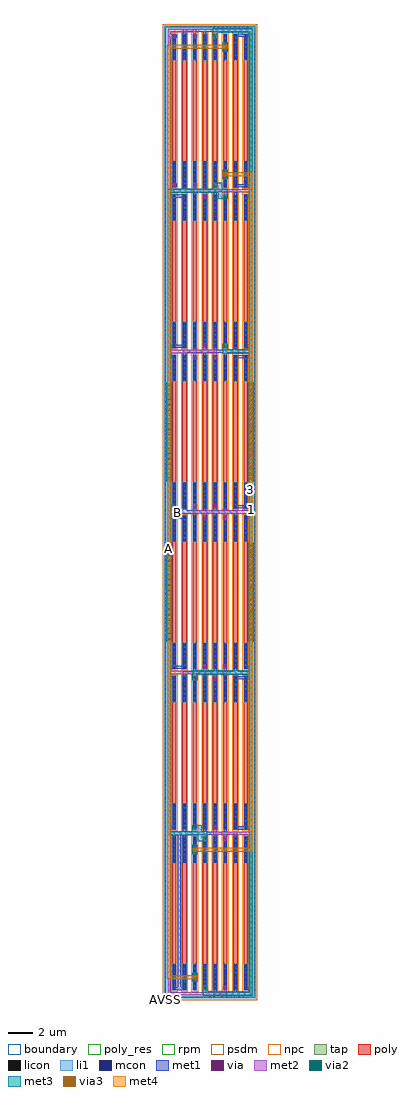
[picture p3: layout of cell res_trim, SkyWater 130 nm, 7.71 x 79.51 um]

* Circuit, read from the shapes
.subckt res_trim 1 2 3 A AVSS B
XR1 B B AVSS sky130_fd_pr__res_high_po w=0.35 l=8.28 m=8
XR2 2 2 AVSS sky130_fd_pr__res_high_po w=0.35 l=8.28
XR3 3 B AVSS sky130_fd_pr__res_high_po w=0.35 l=8.28 m=16
XR4 1 A AVSS sky130_fd_pr__res_high_po w=0.35 l=8.28 m=2
XR5 1 2 AVSS sky130_fd_pr__res_high_po w=0.35 l=8.28 m=4
XR6 2 3 AVSS sky130_fd_pr__res_high_po w=0.35 l=8.28 m=8
XR7 3 3 AVSS sky130_fd_pr__res_high_po w=0.35 l=8.28 m=9
.ends

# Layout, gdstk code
import gdstk
lib = gdstk.Library(unit=1e-6, precision=1e-09)
def R(c, l, rs):  # rectangles x0, y0, x1, y1
    for r in rs: c.add(gdstk.rectangle(r[:2], r[2:], *l))
def A(c, l, x, y, w, h, nx, ny, dx, dy):  # array of equal rectangles
    R(c, l, [(x+i*dx, y+j*dy, x+i*dx+w, y+j*dy+h) for i in range(nx) for j in range(ny)])
tap = (65, 44)
poly_res = (66, 13)
poly = (66, 20)
licon = (66, 44)
li1 = (67, 20)
mcon = (67, 44)
met1 = (68, 20)
via = (68, 44)
met2 = (69, 20)
via2 = (69, 44)
met3 = (70, 20)
via3 = (70, 44)
met4 = (71, 20)
rpm = (86, 20)
psdm = (94, 20)
npc = (95, 20)
boundary = (235, 4)

sky130_fd_pr__res_high_p = lib.new_cell('sky130_fd_pr__res_high_po_0p35_FKQ3F2')
R(sky130_fd_pr__res_high_p, tap, [(-3.73,-39.63,3.73,-39.46), (-3.73,-39.46,-3.56,39.46), (3.56,-39.46,3.73,39.46), (-3.73,39.46,3.73,39.63)])
A(sky130_fd_pr__res_high_p, poly_res, -3.08, -36.9, 0.35, 8.4, 8, 6, 0.83, 13.08)
A(sky130_fd_pr__res_high_p, poly, -3.08, -38.98, 0.35, 12.56, 8, 6, 0.83, 13.08)
A(sky130_fd_pr__res_high_p, licon, -3.145, -39.63, 0.17, 0.17, 19, 2, 0.34, 79.09)
A(sky130_fd_pr__res_high_p, licon, -3.73, -39.015, 0.17, 0.17, 1, 230, 0, 0.34)
A(sky130_fd_pr__res_high_p, licon, 3.56, -39.015, 0.17, 0.17, 1, 230, 0, 0.34)
A(sky130_fd_pr__res_high_p, licon, -3, -38.9, 0.19, 2, 8, 2, 0.83, 10.4)
A(sky130_fd_pr__res_high_p, licon, -3, -25.82, 0.19, 2, 8, 2, 0.83, 10.4)
A(sky130_fd_pr__res_high_p, licon, -3, -12.74, 0.19, 2, 8, 2, 0.83, 10.4)
A(sky130_fd_pr__res_high_p, licon, -3, 0.34, 0.19, 2, 8, 2, 0.83, 10.4)
A(sky130_fd_pr__res_high_p, licon, -3, 13.42, 0.19, 2, 8, 2, 0.83, 10.4)
A(sky130_fd_pr__res_high_p, licon, -3, 26.5, 0.19, 2, 8, 2, 0.83, 10.4)
A(sky130_fd_pr__res_high_p, li1, -3.08, -38.98, 0.35, 2.16, 8, 2, 0.83, 10.4)
A(sky130_fd_pr__res_high_p, li1, -3.08, -25.9, 0.35, 2.16, 8, 2, 0.83, 10.4)
A(sky130_fd_pr__res_high_p, li1, -3.08, -12.82, 0.35, 2.16, 8, 2, 0.83, 10.4)
A(sky130_fd_pr__res_high_p, li1, -3.08, 0.26, 0.35, 2.16, 8, 2, 0.83, 10.4)
A(sky130_fd_pr__res_high_p, li1, -3.08, 13.34, 0.35, 2.16, 8, 2, 0.83, 10.4)
A(sky130_fd_pr__res_high_p, li1, -3.08, 26.42, 0.35, 2.16, 8, 2, 0.83, 10.4)
R(sky130_fd_pr__res_high_p, li1, [(-3.73,-39.63,3.73,-39.46), (-3.73,-39.46,-3.56,39.46), (3.56,-39.46,3.73,39.46), (-3.73,39.46,3.73,39.63)])
A(sky130_fd_pr__res_high_p, mcon, -2.99, -38.885, 0.17, 0.17, 8, 6, 0.83, 0.36)
A(sky130_fd_pr__res_high_p, mcon, -2.99, -28.49, 0.17, 0.17, 8, 6, 0.83, 0.36)
A(sky130_fd_pr__res_high_p, mcon, -2.99, -25.805, 0.17, 0.17, 8, 6, 0.83, 0.36)
A(sky130_fd_pr__res_high_p, mcon, -2.99, -15.41, 0.17, 0.17, 8, 6, 0.83, 0.36)
A(sky130_fd_pr__res_high_p, mcon, -2.99, -12.725, 0.17, 0.17, 8, 6, 0.83, 0.36)
A(sky130_fd_pr__res_high_p, mcon, -2.99, -2.33, 0.17, 0.17, 8, 6, 0.83, 0.36)
A(sky130_fd_pr__res_high_p, mcon, -2.99, 0.355, 0.17, 0.17, 8, 6, 0.83, 0.36)
A(sky130_fd_pr__res_high_p, mcon, -2.99, 10.75, 0.17, 0.17, 8, 6, 0.83, 0.36)
A(sky130_fd_pr__res_high_p, mcon, -2.99, 13.435, 0.17, 0.17, 8, 6, 0.83, 0.36)
A(sky130_fd_pr__res_high_p, mcon, -2.99, 23.83, 0.17, 0.17, 8, 6, 0.83, 0.36)
A(sky130_fd_pr__res_high_p, mcon, -2.99, 26.515, 0.17, 0.17, 8, 6, 0.83, 0.36)
A(sky130_fd_pr__res_high_p, mcon, -2.99, 36.91, 0.17, 0.17, 8, 6, 0.83, 0.36)
A(sky130_fd_pr__res_high_p, met1, -3.03, -38.95, 0.25, 2.105, 8, 2, 0.83, 10.395)
A(sky130_fd_pr__res_high_p, met1, -3.03, -25.87, 0.25, 2.105, 8, 2, 0.83, 10.395)
A(sky130_fd_pr__res_high_p, met1, -3.03, -12.79, 0.25, 2.105, 8, 2, 0.83, 10.395)
A(sky130_fd_pr__res_high_p, met1, -3.03, 0.29, 0.25, 2.105, 8, 2, 0.83, 10.395)
A(sky130_fd_pr__res_high_p, met1, -3.03, 13.37, 0.25, 2.105, 8, 2, 0.83, 10.395)
A(sky130_fd_pr__res_high_p, met1, -3.03, 26.45, 0.25, 2.105, 8, 2, 0.83, 10.395)
R(sky130_fd_pr__res_high_p, rpm, [(-3.28,-39.18,3.28,39.18)])
R(sky130_fd_pr__res_high_p, psdm, [(-3.855,-39.755,3.855,39.755)])
A(sky130_fd_pr__res_high_p, npc, -3.175, -39.075, 0.54, 12.75, 8, 6, 0.83, 13.08)
R(sky130_fd_pr__res_high_p, boundary, [(-3.645,-39.545,3.645,39.545)])
sky130_fd_pr__res_high_p.add(gdstk.Label('B', (0,-39.545), layer=67, texttype=5))
sky130_fd_pr__res_high_p.add(gdstk.Label('R1_0_0', (-2.905,-26.595), layer=67, texttype=5))
sky130_fd_pr__res_high_p.add(gdstk.Label('R2_0_0', (-2.905,-38.805), layer=67, texttype=5))
sky130_fd_pr__res_high_p.add(gdstk.Label('R1_0_1', (-2.905,-13.515), layer=67, texttype=5))
sky130_fd_pr__res_high_p.add(gdstk.Label('R2_0_1', (-2.905,-25.725), layer=67, texttype=5))
sky130_fd_pr__res_high_p.add(gdstk.Label('R1_0_2', (-2.905,-0.435), layer=67, texttype=5))
sky130_fd_pr__res_high_p.add(gdstk.Label('R2_0_2', (-2.905,-12.645), layer=67, texttype=5))
sky130_fd_pr__res_high_p.add(gdstk.Label('R1_0_3', (-2.905,12.645), layer=67, texttype=5))
sky130_fd_pr__res_high_p.add(gdstk.Label('R2_0_3', (-2.905,0.435), layer=67, texttype=5))
sky130_fd_pr__res_high_p.add(gdstk.Label('R1_0_4', (-2.905,25.725), layer=67, texttype=5))
sky130_fd_pr__res_high_p.add(gdstk.Label('R2_0_4', (-2.905,13.515), layer=67, texttype=5))
sky130_fd_pr__res_high_p.add(gdstk.Label('R1_0_5', (-2.905,38.805), layer=67, texttype=5))
sky130_fd_pr__res_high_p.add(gdstk.Label('R2_0_5', (-2.905,26.595), layer=67, texttype=5))
sky130_fd_pr__res_high_p.add(gdstk.Label('R1_1_0', (-2.075,-26.595), layer=67, texttype=5))
sky130_fd_pr__res_high_p.add(gdstk.Label('R2_1_0', (-2.075,-38.805), layer=67, texttype=5))
sky130_fd_pr__res_high_p.add(gdstk.Label('R1_1_1', (-2.075,-13.515), layer=67, texttype=5))
sky130_fd_pr__res_high_p.add(gdstk.Label('R2_1_1', (-2.075,-25.725), layer=67, texttype=5))
sky130_fd_pr__res_high_p.add(gdstk.Label('R1_1_2', (-2.075,-0.435), layer=67, texttype=5))
sky130_fd_pr__res_high_p.add(gdstk.Label('R2_1_2', (-2.075,-12.645), layer=67, texttype=5))
sky130_fd_pr__res_high_p.add(gdstk.Label('R1_1_3', (-2.075,12.645), layer=67, texttype=5))
sky130_fd_pr__res_high_p.add(gdstk.Label('R2_1_3', (-2.075,0.435), layer=67, texttype=5))
sky130_fd_pr__res_high_p.add(gdstk.Label('R1_1_4', (-2.075,25.725), layer=67, texttype=5))
sky130_fd_pr__res_high_p.add(gdstk.Label('R2_1_4', (-2.075,13.515), layer=67, texttype=5))
sky130_fd_pr__res_high_p.add(gdstk.Label('R1_1_5', (-2.075,38.805), layer=67, texttype=5))
sky130_fd_pr__res_high_p.add(gdstk.Label('R2_1_5', (-2.075,26.595), layer=67, texttype=5))
sky130_fd_pr__res_high_p.add(gdstk.Label('R1_2_0', (-1.245,-26.595), layer=67, texttype=5))
sky130_fd_pr__res_high_p.add(gdstk.Label('R2_2_0', (-1.245,-38.805), layer=67, texttype=5))
sky130_fd_pr__res_high_p.add(gdstk.Label('R1_2_1', (-1.245,-13.515), layer=67, texttype=5))
sky130_fd_pr__res_high_p.add(gdstk.Label('R2_2_1', (-1.245,-25.725), layer=67, texttype=5))
sky130_fd_pr__res_high_p.add(gdstk.Label('R1_2_2', (-1.245,-0.435), layer=67, texttype=5))
sky130_fd_pr__res_high_p.add(gdstk.Label('R2_2_2', (-1.245,-12.645), layer=67, texttype=5))
sky130_fd_pr__res_high_p.add(gdstk.Label('R1_2_3', (-1.245,12.645), layer=67, texttype=5))
sky130_fd_pr__res_high_p.add(gdstk.Label('R2_2_3', (-1.245,0.435), layer=67, texttype=5))
sky130_fd_pr__res_high_p.add(gdstk.Label('R1_2_4', (-1.245,25.725), layer=67, texttype=5))
sky130_fd_pr__res_high_p.add(gdstk.Label('R2_2_4', (-1.245,13.515), layer=67, texttype=5))
sky130_fd_pr__res_high_p.add(gdstk.Label('R1_2_5', (-1.245,38.805), layer=67, texttype=5))
sky130_fd_pr__res_high_p.add(gdstk.Label('R2_2_5', (-1.245,26.595), layer=67, texttype=5))
sky130_fd_pr__res_high_p.add(gdstk.Label('R1_3_0', (-0.415,-26.595), layer=67, texttype=5))
sky130_fd_pr__res_high_p.add(gdstk.Label('R2_3_0', (-0.415,-38.805), layer=67, texttype=5))
sky130_fd_pr__res_high_p.add(gdstk.Label('R1_3_1', (-0.415,-13.515), layer=67, texttype=5))
sky130_fd_pr__res_high_p.add(gdstk.Label('R2_3_1', (-0.415,-25.725), layer=67, texttype=5))
sky130_fd_pr__res_high_p.add(gdstk.Label('R1_3_2', (-0.415,-0.435), layer=67, texttype=5))
sky130_fd_pr__res_high_p.add(gdstk.Label('R2_3_2', (-0.415,-12.645), layer=67, texttype=5))
sky130_fd_pr__res_high_p.add(gdstk.Label('R1_3_3', (-0.415,12.645), layer=67, texttype=5))
sky130_fd_pr__res_high_p.add(gdstk.Label('R2_3_3', (-0.415,0.435), layer=67, texttype=5))
sky130_fd_pr__res_high_p.add(gdstk.Label('R1_3_4', (-0.415,25.725), layer=67, texttype=5))
sky130_fd_pr__res_high_p.add(gdstk.Label('R2_3_4', (-0.415,13.515), layer=67, texttype=5))
sky130_fd_pr__res_high_p.add(gdstk.Label('R1_3_5', (-0.415,38.805), layer=67, texttype=5))
sky130_fd_pr__res_high_p.add(gdstk.Label('R2_3_5', (-0.415,26.595), layer=67, texttype=5))
sky130_fd_pr__res_high_p.add(gdstk.Label('R1_4_0', (0.415,-26.595), layer=67, texttype=5))
sky130_fd_pr__res_high_p.add(gdstk.Label('R2_4_0', (0.415,-38.805), layer=67, texttype=5))
sky130_fd_pr__res_high_p.add(gdstk.Label('R1_4_1', (0.415,-13.515), layer=67, texttype=5))
sky130_fd_pr__res_high_p.add(gdstk.Label('R2_4_1', (0.415,-25.725), layer=67, texttype=5))
sky130_fd_pr__res_high_p.add(gdstk.Label('R1_4_2', (0.415,-0.435), layer=67, texttype=5))
sky130_fd_pr__res_high_p.add(gdstk.Label('R2_4_2', (0.415,-12.645), layer=67, texttype=5))
sky130_fd_pr__res_high_p.add(gdstk.Label('R1_4_3', (0.415,12.645), layer=67, texttype=5))
sky130_fd_pr__res_high_p.add(gdstk.Label('R2_4_3', (0.415,0.435), layer=67, texttype=5))
sky130_fd_pr__res_high_p.add(gdstk.Label('R1_4_4', (0.415,25.725), layer=67, texttype=5))
sky130_fd_pr__res_high_p.add(gdstk.Label('R2_4_4', (0.415,13.515), layer=67, texttype=5))
sky130_fd_pr__res_high_p.add(gdstk.Label('R1_4_5', (0.415,38.805), layer=67, texttype=5))
sky130_fd_pr__res_high_p.add(gdstk.Label('R2_4_5', (0.415,26.595), layer=67, texttype=5))
sky130_fd_pr__res_high_p.add(gdstk.Label('R1_5_0', (1.245,-26.595), layer=67, texttype=5))
sky130_fd_pr__res_high_p.add(gdstk.Label('R2_5_0', (1.245,-38.805), layer=67, texttype=5))
sky130_fd_pr__res_high_p.add(gdstk.Label('R1_5_1', (1.245,-13.515), layer=67, texttype=5))
sky130_fd_pr__res_high_p.add(gdstk.Label('R2_5_1', (1.245,-25.725), layer=67, texttype=5))
sky130_fd_pr__res_high_p.add(gdstk.Label('R1_5_2', (1.245,-0.435), layer=67, texttype=5))
sky130_fd_pr__res_high_p.add(gdstk.Label('R2_5_2', (1.245,-12.645), layer=67, texttype=5))
sky130_fd_pr__res_high_p.add(gdstk.Label('R1_5_3', (1.245,12.645), layer=67, texttype=5))
sky130_fd_pr__res_high_p.add(gdstk.Label('R2_5_3', (1.245,0.435), layer=67, texttype=5))
sky130_fd_pr__res_high_p.add(gdstk.Label('R1_5_4', (1.245,25.725), layer=67, texttype=5))
sky130_fd_pr__res_high_p.add(gdstk.Label('R2_5_4', (1.245,13.515), layer=67, texttype=5))
sky130_fd_pr__res_high_p.add(gdstk.Label('R1_5_5', (1.245,38.805), layer=67, texttype=5))
sky130_fd_pr__res_high_p.add(gdstk.Label('R2_5_5', (1.245,26.595), layer=67, texttype=5))
sky130_fd_pr__res_high_p.add(gdstk.Label('R1_6_0', (2.075,-26.595), layer=67, texttype=5))
sky130_fd_pr__res_high_p.add(gdstk.Label('R2_6_0', (2.075,-38.805), layer=67, texttype=5))
sky130_fd_pr__res_high_p.add(gdstk.Label('R1_6_1', (2.075,-13.515), layer=67, texttype=5))
sky130_fd_pr__res_high_p.add(gdstk.Label('R2_6_1', (2.075,-25.725), layer=67, texttype=5))
sky130_fd_pr__res_high_p.add(gdstk.Label('R1_6_2', (2.075,-0.435), layer=67, texttype=5))
sky130_fd_pr__res_high_p.add(gdstk.Label('R2_6_2', (2.075,-12.645), layer=67, texttype=5))
sky130_fd_pr__res_high_p.add(gdstk.Label('R1_6_3', (2.075,12.645), layer=67, texttype=5))
sky130_fd_pr__res_high_p.add(gdstk.Label('R2_6_3', (2.075,0.435), layer=67, texttype=5))
sky130_fd_pr__res_high_p.add(gdstk.Label('R1_6_4', (2.075,25.725), layer=67, texttype=5))
sky130_fd_pr__res_high_p.add(gdstk.Label('R2_6_4', (2.075,13.515), layer=67, texttype=5))
sky130_fd_pr__res_high_p.add(gdstk.Label('R1_6_5', (2.075,38.805), layer=67, texttype=5))
sky130_fd_pr__res_high_p.add(gdstk.Label('R2_6_5', (2.075,26.595), layer=67, texttype=5))
sky130_fd_pr__res_high_p.add(gdstk.Label('R1_7_0', (2.905,-26.595), layer=67, texttype=5))
sky130_fd_pr__res_high_p.add(gdstk.Label('R2_7_0', (2.905,-38.805), layer=67, texttype=5))
sky130_fd_pr__res_high_p.add(gdstk.Label('R1_7_1', (2.905,-13.515), layer=67, texttype=5))
sky130_fd_pr__res_high_p.add(gdstk.Label('R2_7_1', (2.905,-25.725), layer=67, texttype=5))
sky130_fd_pr__res_high_p.add(gdstk.Label('R1_7_2', (2.905,-0.435), layer=67, texttype=5))
sky130_fd_pr__res_high_p.add(gdstk.Label('R2_7_2', (2.905,-12.645), layer=67, texttype=5))
sky130_fd_pr__res_high_p.add(gdstk.Label('R1_7_3', (2.905,12.645), layer=67, texttype=5))
sky130_fd_pr__res_high_p.add(gdstk.Label('R2_7_3', (2.905,0.435), layer=67, texttype=5))
sky130_fd_pr__res_high_p.add(gdstk.Label('R1_7_4', (2.905,25.725), layer=67, texttype=5))
sky130_fd_pr__res_high_p.add(gdstk.Label('R2_7_4', (2.905,13.515), layer=67, texttype=5))
sky130_fd_pr__res_high_p.add(gdstk.Label('R1_7_5', (2.905,38.805), layer=67, texttype=5))
sky130_fd_pr__res_high_p.add(gdstk.Label('R2_7_5', (2.905,26.595), layer=67, texttype=5))

res_trim = lib.new_cell('res_trim')
A(res_trim, met1, 6.95, 13.105, 0.25, 0.58, 1, 3, 0, 26.16)
A(res_trim, met1, 0.31, 13.27, 5.645, 0.25, 1, 3, 0, 26.16)
A(res_trim, met1, 1.555, 13.52, 0.25, 0.225, 3, 2, 1.66, 12.605)
A(res_trim, met1, 0.31, 13.935, 0.25, 12, 1, 4, 0, 13.08)
A(res_trim, met1, 1.555, 26.35, 5.645, 0.25, 1, 3, 0, 26.16)
A(res_trim, met1, 2.385, 26.6, 0.25, 0.225, 3, 2, 1.66, 12.605)
A(res_trim, met1, 1.555, 39.68, 0.25, 0.225, 3, 2, 1.66, 12.605)
A(res_trim, met1, 2.385, 52.76, 0.25, 0.225, 3, 2, 1.66, 12.605)
A(res_trim, met1, 0.67, 66.065, 0.36, 0.26, 3, 2, 1.66, 12.12)
R(res_trim, met1, [(4.045,0.19,7.2,0.44), (4.045,0.44,4.295,0.665), (5.705,0.44,5.955,0.665), (6.95,0.44,7.2,0.605), (0.725,0.605,1.73,0.855), (6.535,0.605,7.2,0.855), (3.16,0.665,3.52,0.925), (4.82,0.665,5.18,0.925), (1.14,0.855,1.39,13.27), (6.95,0.855,7.2,12.855), (2.33,1.525,2.69,1.785), (2.33,11.92,2.69,12.18), (3.16,12.785,3.52,13.045), (4.82,12.785,5.18,13.045), (6.535,12.855,7.2,13.105), (4.045,13.045,4.295,13.27), (5.705,13.045,5.955,13.27), (0.725,13.055,0.975,13.27), (1.555,13.065,1.805,13.27), (0.31,13.52,0.56,13.685), (0.31,13.685,0.94,13.935), (5.705,13.685,7.2,13.935), (2.33,13.745,2.69,14.005), (3.99,13.745,4.35,14.005), (6.95,13.935,7.2,25.935), (2.33,25.865,2.69,26.125), (3.99,25.865,4.35,26.125), (0.31,25.935,0.975,26.185), (5.705,25.935,7.2,26.185), (0.31,26.185,0.56,26.765), (6.95,26.185,7.2,26.35), (6.95,26.6,7.2,26.765), (0.31,26.765,1.8,27.015), (6.535,26.765,7.2,27.015), (3.16,26.825,3.52,27.085), (4.82,26.825,5.18,27.085), (6.95,27.015,7.2,28.995), (6.895,28.995,7.255,37.035), (6.95,37.035,7.2,39.015), (3.16,38.945,3.52,39.205), (4.82,38.945,5.18,39.205), (0.31,39.015,1.805,39.265), (6.535,39.015,7.2,39.265), (0.31,39.265,0.56,39.43), (0.31,39.68,0.56,39.845), (0.31,39.845,0.975,40.095), (5.705,39.845,7.2,40.095), (2.33,39.905,2.69,40.165), (3.99,39.905,4.35,40.165), (6.95,40.095,7.2,42.075), (6.895,42.075,7.255,50.115), (6.95,50.115,7.2,52.095), (2.33,52.025,2.69,52.285), (3.99,52.025,4.35,52.285), (0.31,52.095,0.975,52.345), (5.705,52.095,7.2,52.345), (0.31,52.345,0.56,52.925), (6.95,52.345,7.2,52.51), (6.95,52.76,7.2,52.925), (0.31,52.925,1.805,53.175), (6.535,52.925,7.2,53.175), (3.16,52.985,3.52,53.245), (4.82,52.985,5.18,53.245), (6.95,53.175,7.2,65.175), (3.16,65.105,3.52,65.365), (4.82,65.105,5.18,65.365), (0.31,65.175,1.8,65.425), (6.535,65.175,7.2,65.425), (0.31,65.425,0.56,65.59), (1.555,65.84,1.805,66.065), (3.215,65.84,3.465,66.065), (5.715,66.005,7.2,66.255), (6.95,66.255,7.2,78.255), (4.82,66.925,5.18,67.185), (4.82,77.32,5.18,77.58), (5.705,78.255,7.2,78.505), (1.555,78.445,1.805,78.67), (3.215,78.445,3.465,78.67), (6.95,78.505,7.2,78.67)])
A(res_trim, via, 7, 29.1, 0.15, 0.15, 1, 25, 0, 0.32)
A(res_trim, via, 7, 42.18, 0.15, 0.15, 1, 25, 0, 0.32)
A(res_trim, via, 0.775, 66.12, 0.15, 0.15, 3, 2, 1.66, 12.12)
R(res_trim, via, [(3.265,0.72,3.415,0.87), (4.925,0.72,5.075,0.87), (2.435,1.58,2.585,1.73), (2.435,11.975,2.585,12.125), (3.265,12.84,3.415,12.99), (4.925,12.84,5.075,12.99), (2.435,13.8,2.585,13.95), (4.095,13.8,4.245,13.95), (2.435,25.92,2.585,26.07), (4.095,25.92,4.245,26.07), (3.265,26.88,3.415,27.03), (4.925,26.88,5.075,27.03), (3.265,39,3.415,39.15), (4.925,39,5.075,39.15), (2.435,39.96,2.585,40.11), (4.095,39.96,4.245,40.11), (2.435,52.08,2.585,52.23), (4.095,52.08,4.245,52.23), (3.265,53.04,3.415,53.19), (4.925,53.04,5.075,53.19), (3.265,65.16,3.415,65.31), (4.925,65.16,5.075,65.31), (4.925,66.98,5.075,67.13), (4.925,77.375,5.075,77.525)])
R(res_trim, met2, [(0.305,0.185,5.13,0.445), (0.305,0.445,0.565,26.345), (4.87,0.445,5.13,0.975), (3.2,0.605,3.48,0.985), (2.37,1.465,2.65,1.845), (2.37,11.86,2.65,12.24), (3.2,12.725,3.48,13.105), (4.87,12.735,5.13,13.265), (4.04,13.265,7.205,13.525), (4.04,13.525,4.3,14.055), (6.945,13.525,7.205,39.425), (2.37,13.685,2.65,14.065), (2.37,25.805,2.65,26.185), (4.04,25.815,4.3,26.345), (0.305,26.345,5.13,26.605), (0.305,26.605,0.565,28.945), (3.21,26.605,3.47,27.135), (4.87,26.605,5.13,27.135), (0.27,28.945,0.6,37.085), (0.305,37.085,0.565,42.025), (3.21,38.895,3.47,39.425), (4.87,38.895,5.13,39.425), (2.38,39.425,7.205,39.685), (2.38,39.685,2.64,40.215), (4.04,39.685,4.3,40.215), (6.945,39.685,7.205,65.585), (0.27,42.025,0.6,50.165), (0.305,50.165,0.565,52.505), (2.38,51.975,2.64,52.505), (4.04,51.975,4.3,52.505), (0.305,52.505,4.3,52.765), (0.305,52.765,0.565,66.015), (3.21,52.765,3.47,53.295), (4.86,52.925,5.14,53.305), (4.86,65.045,5.14,65.425), (3.21,65.055,3.47,65.585), (2.38,65.585,7.205,65.845), (2.38,65.845,2.64,66.375), (4.03,66.005,4.31,66.385), (0.305,66.015,0.98,66.375), (0.305,66.375,0.565,78.135), (4.86,66.865,5.14,67.245), (4.86,77.26,5.14,77.64), (4.03,78.125,4.31,78.505), (0.305,78.135,0.98,78.495), (2.38,78.135,2.64,78.645), (0.305,78.495,0.565,78.645), (0.305,78.645,2.64,78.905)])
A(res_trim, via2, 0.335, 29.115, 0.2, 0.2, 1, 20, 0, 0.4)
A(res_trim, via2, 0.335, 42.195, 0.2, 0.2, 1, 20, 0, 0.4)
R(res_trim, via2, [(3.24,0.695,3.44,0.895), (2.41,1.555,2.61,1.755), (2.41,11.95,2.61,12.15), (3.24,12.815,3.44,13.015), (2.41,13.775,2.61,13.975), (2.41,25.895,2.61,26.095), (4.9,53.015,5.1,53.215), (4.9,65.135,5.1,65.335), (4.07,66.095,4.27,66.295), (4.9,66.955,5.1,67.155), (4.9,77.35,5.1,77.55), (4.07,78.215,4.27,78.415)])
R(res_trim, met3, [(3.15,0.145,7.24,0.525), (3.15,0.525,3.53,0.96), (6.91,0.525,7.24,26.285), (2.32,1.27,2.7,1.495), (2.3,1.495,2.72,1.815), (2.32,1.815,2.7,2.035), (2.32,11.665,2.7,11.89), (2.3,11.89,2.72,12.21), (2.32,12.21,2.7,12.435), (2.76,12.75,3.53,13.23), (0.27,13.23,3.53,13.56), (0.27,13.56,0.6,28.97), (2.32,13.56,3.09,14.04), (2.32,25.83,2.7,26.285), (2.32,26.285,7.24,26.665), (6.91,26.665,7.24,28.995), (0.22,28.97,0.65,37.06), (6.86,28.995,7.29,37.035), (6.91,37.035,7.24,42.075), (0.27,37.06,0.6,42.05), (0.22,42.05,0.65,50.14), (6.86,42.075,7.29,50.115), (6.91,50.115,7.24,52.445), (0.27,50.14,0.6,65.55), (4.81,52.445,7.24,52.825), (4.81,52.825,5.19,53.28), (6.91,52.825,7.24,78.585), (4.42,65.07,5.19,65.55), (0.27,65.55,5.19,65.88), (3.98,65.88,4.75,66.36), (4.81,66.67,5.19,66.895), (4.79,66.895,5.21,67.215), (4.81,67.215,5.19,67.44), (4.81,77.065,5.19,77.29), (4.79,77.29,5.21,77.61), (4.81,77.61,5.19,77.835), (3.98,78.15,4.36,78.585), (3.98,78.585,7.24,78.965)])
A(res_trim, via3, 6.975, 29.115, 0.2, 0.2, 1, 20, 0, 0.4)
A(res_trim, via3, 6.975, 42.195, 0.2, 0.2, 1, 20, 0, 0.4)
R(res_trim, via3, [(2.41,1.555,2.61,1.755), (2.41,11.95,2.61,12.15), (4.9,66.955,5.1,67.155), (4.9,77.35,5.1,77.55)])
R(res_trim, met4, [(0.27,1.49,2.675,1.82), (0.27,1.82,0.6,77.285), (2.345,11.885,7.24,12.215), (6.91,12.215,7.24,28.99), (6.905,28.99,7.245,37.04), (6.91,37.04,7.24,42.07), (6.905,42.07,7.245,50.12), (6.91,50.12,7.24,66.89), (4.835,66.89,7.24,67.22), (0.27,77.285,5.165,77.615)])
res_trim.add(gdstk.Reference(sky130_fd_pr__res_high_p, (3.755,39.555)))
res_trim.add(gdstk.Label('B', (1.12,39.54), layer=68, texttype=5))
res_trim.add(gdstk.Label('A', (0.4,36.57), layer=71, texttype=5))
res_trim.add(gdstk.Label('1', (7.1,39.73), layer=71, texttype=5))
res_trim.add(gdstk.Label('2', (0.59,40.35), layer=70, texttype=5))
res_trim.add(gdstk.Label('3', (7.09,41.37), layer=69, texttype=5))
res_trim.add(gdstk.Label('AVSS', (0.15,-0.135), layer=64, texttype=59))

lib.write_gds('res_trim.gds')
